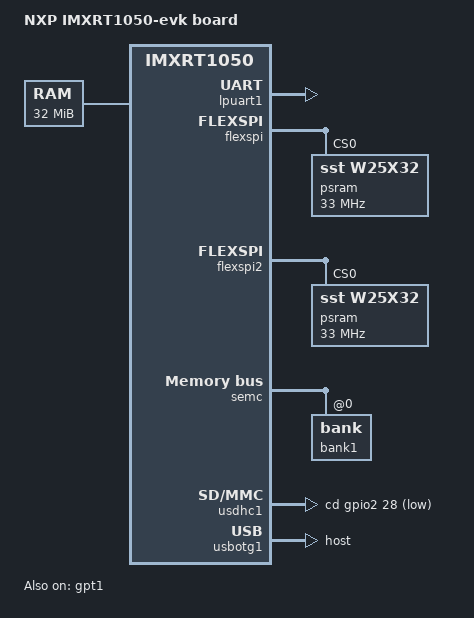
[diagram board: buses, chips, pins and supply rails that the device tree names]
// SPDX-License-Identifier: (GPL-2.0+ OR BSD-3-Clause)
/*
 * Copyright (C) 2019
 * Author(s): Giulio Benetti <giulio.benetti@benettiengineering.com>
 */

/dts-v1/;
#include "imxrt1050.dtsi"
#include "imxrt1050-evk-u-boot.dtsi"
#include <dt-bindings/pinctrl/pins-imxrt1060.h>

/ {
	model = "NXP IMXRT1050-evk board";
	compatible = "fsl,imxrt1050-evk", "fsl,imxrt1050";

	chosen {
		bootargs = "root=/dev/ram";
		stdout-path = "serial0:115200n8";
		tick-timer = &gpt1;
	};

	memory {
		device_type = "memory";
		reg = <0x70000000 0x2000000>;
	};
};

&lpuart1 { /* console */
	pinctrl-names = "default";
	pinctrl-0 = <&pinctrl_lpuart1>;
	status = "okay";
};

&flexspi {
	num-cs = <1>;
	pinctrl-0 = <&pinctrl_fspi>;
	pinctrl-names = "default";
	//status = "okay";
	psram: psram@0 {
		#address-cells = <1>;
		#size-cells = <1>;
		compatible =  "sst,w25x32","jedec,spi-nor";
		reg = <0>;
		spi-max-frequency = <33000000>;
		spi-tx-bus-width = <1>;
		spi-rx-bus-width = <1>;
		u-boot,dm-spl;
		//status = "okay";
	};
};

&flexspi2 {
	num-cs = <1>;
	pinctrl-0 = <&pinctrl_fspi2>;
	pinctrl-names = "default";
	status = "okay";
	psram: psram@0 {
		#address-cells = <1>;
		#size-cells = <1>;
		compatible =  "sst,w25x32","jedec,spi-nor";
		reg = <0>;
		spi-max-frequency = <33000000>;
		spi-tx-bus-width = <1>;
		spi-rx-bus-width = <1>;
		u-boot,dm-spl;
		status = "okay";
	};
};

&semc {
	/*
	 * Memory configuration from sdram datasheet IS42S16160J-6BLI
	 */
	fsl,sdram-mux = /bits/ 8 <MUX_A8_SDRAM_A8
				MUX_CSX0_SDRAM_CS1
				0
				0
				0
				0>;
	fsl,sdram-control = /bits/ 8 <MEM_WIDTH_16BITS
					BL_8
					COL_9BITS
					CL_3>;
	fsl,sdram-timing = /bits/ 8 <0x2
				     0x2
				     0x9
				     0x1
				     0x5
				     0x6

				     0x20
				     0x09
				     0x01
				     0x00

				     0x04
				     0x0A
				     0x21
				     0x50>;
	bank1: bank@0 {
		fsl,base-address = <0x80000000>;
		fsl,memory-size = <MEM_SIZE_32M>;
	};
};

&iomuxc {
	pinctrl-names = "default";
	pinctrl-0 = <&pinctrl_lpuart1>;

	imxrt1050-evk {
		pinctrl_lpuart1: lpuart1grp {
			fsl,pins = <
				MXRT1060_IOMUXC_GPIO_AD_B0_12_LPUART1_TX
					0xf1
				MXRT1060_IOMUXC_GPIO_AD_B0_13_LPUART1_RX
					0xf1
			>;
		};

		pinctrl_semc: semcgrp {
			fsl,pins = <
				MXRT1060_IOMUXC_GPIO_EMC_00_SEMC_DATA00
					0xf1	/* SEMC_D0 */
				MXRT1060_IOMUXC_GPIO_EMC_01_SEMC_DATA01
					0xf1	/* SEMC_D1 */
				MXRT1060_IOMUXC_GPIO_EMC_02_SEMC_DATA02
					0xf1	/* SEMC_D2 */
				MXRT1060_IOMUXC_GPIO_EMC_03_SEMC_DATA03
					0xf1	/* SEMC_D3 */
				MXRT1060_IOMUXC_GPIO_EMC_04_SEMC_DATA04
					0xf1	/* SEMC_D4 */
				MXRT1060_IOMUXC_GPIO_EMC_05_SEMC_DATA05
					0xf1	/* SEMC_D5 */
				MXRT1060_IOMUXC_GPIO_EMC_06_SEMC_DATA06
					0xf1	/* SEMC_D6 */
				MXRT1060_IOMUXC_GPIO_EMC_07_SEMC_DATA07
					0xf1	/* SEMC_D7 */
				MXRT1060_IOMUXC_GPIO_EMC_08_SEMC_DM00
					0xf1	/* SEMC_DM0 */
				MXRT1060_IOMUXC_GPIO_EMC_09_SEMC_ADDR00
					0xf1	/* SEMC_A0 */
				MXRT1060_IOMUXC_GPIO_EMC_10_SEMC_ADDR01
					0xf1	/* SEMC_A1 */
				MXRT1060_IOMUXC_GPIO_EMC_11_SEMC_ADDR02
					0xf1	/* SEMC_A2 */
				MXRT1060_IOMUXC_GPIO_EMC_12_SEMC_ADDR03
					0xf1	/* SEMC_A3 */
				MXRT1060_IOMUXC_GPIO_EMC_13_SEMC_ADDR04
					0xf1	/* SEMC_A4 */
				MXRT1060_IOMUXC_GPIO_EMC_14_SEMC_ADDR05
					0xf1	/* SEMC_A5 */
				MXRT1060_IOMUXC_GPIO_EMC_15_SEMC_ADDR06
					0xf1	/* SEMC_A6 */
				MXRT1060_IOMUXC_GPIO_EMC_16_SEMC_ADDR07
					0xf1	/* SEMC_A7 */
				MXRT1060_IOMUXC_GPIO_EMC_17_SEMC_ADDR08
					0xf1	/* SEMC_A8 */
				MXRT1060_IOMUXC_GPIO_EMC_18_SEMC_ADDR09
					0xf1	/* SEMC_A9 */
				MXRT1060_IOMUXC_GPIO_EMC_19_SEMC_ADDR11
					0xf1	/* SEMC_A11 */
				MXRT1060_IOMUXC_GPIO_EMC_20_SEMC_ADDR12
					0xf1	/* SEMC_A12 */
				MXRT1060_IOMUXC_GPIO_EMC_21_SEMC_BA0
					0xf1	/* SEMC_BA0 */
				MXRT1060_IOMUXC_GPIO_EMC_22_SEMC_BA1
					0xf1	/* SEMC_BA1 */
				MXRT1060_IOMUXC_GPIO_EMC_23_SEMC_ADDR10
					0xf1	/* SEMC_A10 */
				MXRT1060_IOMUXC_GPIO_EMC_24_SEMC_CAS
					0xf1	/* SEMC_CAS */
				MXRT1060_IOMUXC_GPIO_EMC_25_SEMC_RAS
					0xf1	/* SEMC_RAS */
				MXRT1060_IOMUXC_GPIO_EMC_26_SEMC_CLK
					0xf1	/* SEMC_CLK */
				MXRT1060_IOMUXC_GPIO_EMC_27_SEMC_CKE
					0xf1	/* SEMC_CKE */
				MXRT1060_IOMUXC_GPIO_EMC_28_SEMC_WE
					0xf1	/* SEMC_WE */
				MXRT1060_IOMUXC_GPIO_EMC_29_SEMC_CS0
					0xf1	/* SEMC_CS0 */
				MXRT1060_IOMUXC_GPIO_EMC_30_SEMC_DATA08
					0xf1	/* SEMC_D8 */
				MXRT1060_IOMUXC_GPIO_EMC_31_SEMC_DATA09
					0xf1	/* SEMC_D9 */
				MXRT1060_IOMUXC_GPIO_EMC_32_SEMC_DATA10
					0xf1	/* SEMC_D10 */
				MXRT1060_IOMUXC_GPIO_EMC_33_SEMC_DATA11
					0xf1	/* SEMC_D11 */
				MXRT1060_IOMUXC_GPIO_EMC_34_SEMC_DATA12
					0xf1	/* SEMC_D12 */
				MXRT1060_IOMUXC_GPIO_EMC_35_SEMC_DATA13
					0xf1	/* SEMC_D13 */
				MXRT1060_IOMUXC_GPIO_EMC_36_SEMC_DATA14
					0xf1	/* SEMC_D14 */
				MXRT1060_IOMUXC_GPIO_EMC_37_SEMC_DATA15
					0xf1	/* SEMC_D15 */
				MXRT1060_IOMUXC_GPIO_EMC_38_SEMC_DM01
					0xf1	/* SEMC_DM1 */
				MXRT1060_IOMUXC_GPIO_EMC_39_SEMC_DQS
					(IMX_PAD_SION | 0xf1)	/* SEMC_DQS */
			>;
		};

		pinctrl_usdhc0: usdhc0grp {
			fsl,pins = <
				MXRT1060_IOMUXC_GPIO_B1_12_USDHC1_CD_B
					0x1B000
				MXRT1060_IOMUXC_GPIO_B1_14_USDHC1_VSELECT
					0xB069
				MXRT1060_IOMUXC_GPIO_SD_B0_00_USDHC1_CMD
					0x17061
				MXRT1060_IOMUXC_GPIO_SD_B0_01_USDHC1_CLK
					0x17061
				MXRT1060_IOMUXC_GPIO_SD_B0_05_USDHC1_DATA3
					0x17061
				MXRT1060_IOMUXC_GPIO_SD_B0_04_USDHC1_DATA2
					0x17061
				MXRT1060_IOMUXC_GPIO_SD_B0_03_USDHC1_DATA1
					0x17061
				MXRT1060_IOMUXC_GPIO_SD_B0_02_USDHC1_DATA0
					0x17061
			>;
		};

		pinctrl_fspi: fspigrp {
			fsl,pins = <
				MXRT1060_IOMUXC_GPIO_SD_B1_07_FLEXSPIA_SCLK 0x100F9
				MXRT1060_IOMUXC_GPIO_SD_B1_06_FLEXSPIA_SS0_B 0x1B0F9
				MXRT1060_IOMUXC_GPIO_SD_B1_08_FLEXSPIA_DATA00 0x170F9
				MXRT1060_IOMUXC_GPIO_SD_B1_09_FLEXSPIA_DATA01 0x170F9
				MXRT1060_IOMUXC_GPIO_SD_B1_10_FLEXSPIA_DATA02 0x170F9
				MXRT1060_IOMUXC_GPIO_SD_B1_11_FLEXSPIA_DATA03 0x170F9
			>;
		};

		pinctrl_fspi2: fspigrp2 {
			fsl,pins = <
				MXRT1060_IOMUXC_GPIO_EMC_22_FLEXSPI2_A_SS1_B 0x1B0F9
				MXRT1060_IOMUXC_GPIO_EMC_23_FLEXSPI2_A_DQS 0x110F9
				MXRT1060_IOMUXC_GPIO_EMC_24_FLEXSPI2_A_SS0_B 0x1B0F9
				MXRT1060_IOMUXC_GPIO_EMC_25_FLEXSPI2_A_SCLK 0x100F9
				MXRT1060_IOMUXC_GPIO_EMC_26_FLEXSPI2_A_DATA00 0x170F9
				MXRT1060_IOMUXC_GPIO_EMC_27_FLEXSPI2_A_DATA01 0x170F9
				MXRT1060_IOMUXC_GPIO_EMC_28_FLEXSPI2_A_DATA02 0x170F9
				MXRT1060_IOMUXC_GPIO_EMC_29_FLEXSPI2_A_DATA03 0x170F9
			>;
		};
	};
};

&gpt1 {
	status = "okay";
};

&usdhc1 {
	pinctrl-names = "default", "state_100mhz", "state_200mhz", "sleep";
	pinctrl-0 = <&pinctrl_usdhc0>;
	pinctrl-1 = <&pinctrl_usdhc0>;
	pinctrl-2 = <&pinctrl_usdhc0>;
	pinctrl-3 = <&pinctrl_usdhc0>;
	status = "okay";

	cd-gpios = <&gpio2 28 GPIO_ACTIVE_LOW>;
};

&usbotg1 {
	dr_mode = "host";
	status = "okay";
};
